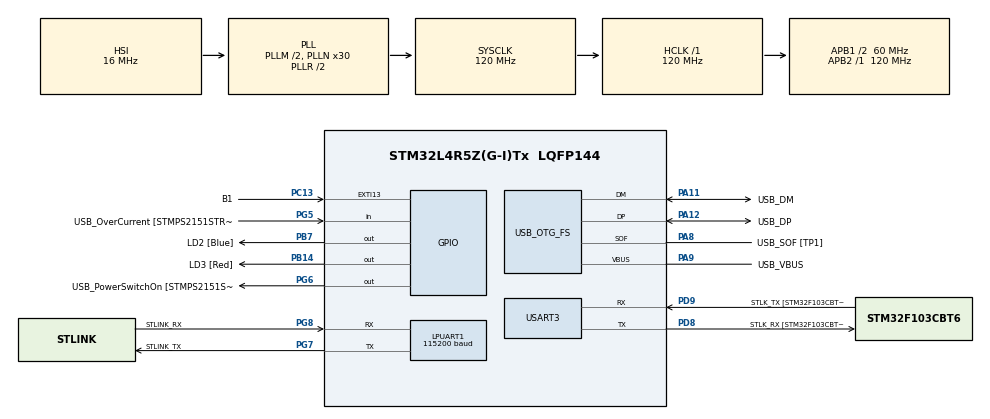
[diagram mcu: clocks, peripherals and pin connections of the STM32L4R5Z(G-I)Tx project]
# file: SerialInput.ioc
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Dma.LPUART1_RX.0.Direction=DMA_PERIPH_TO_MEMORY
Dma.LPUART1_RX.0.EventEnable=DISABLE
Dma.LPUART1_RX.0.Instance=DMA1_Channel1
Dma.LPUART1_RX.0.MemDataAlignment=DMA_MDATAALIGN_BYTE
Dma.LPUART1_RX.0.MemInc=DMA_MINC_ENABLE
Dma.LPUART1_RX.0.Mode=DMA_NORMAL
Dma.LPUART1_RX.0.PeriphDataAlignment=DMA_PDATAALIGN_BYTE
Dma.LPUART1_RX.0.PeriphInc=DMA_PINC_DISABLE
Dma.LPUART1_RX.0.Polarity=HAL_DMAMUX_REQUEST_GEN_RISING
Dma.LPUART1_RX.0.Priority=DMA_PRIORITY_LOW
Dma.LPUART1_RX.0.RequestNumber=1
Dma.LPUART1_RX.0.SignalID=NONE
Dma.LPUART1_RX.0.SyncEnable=DISABLE
Dma.LPUART1_RX.0.SyncPolarity=HAL_DMAMUX_SYNC_NO_EVENT
Dma.LPUART1_RX.0.SyncRequestNumber=1
Dma.LPUART1_RX.0.SyncSignalID=NONE
Dma.Request0=LPUART1_RX
LPUART1.BaudRate=115200
LPUART1.WordLength=UART_WORDLENGTH_8B
Mcu.Family=STM32L4
Mcu.Name=STM32L4R5Z(G-I)Tx
Mcu.Package=LQFP144
NVIC.DMA1_Channel1_IRQn=true\:0\:0\:false\:false\:true\:false\:true\:true
NVIC.PriorityGroup=NVIC_PRIORITYGROUP_4
PA10.GPIO_Label=USB_ID
PA10.Signal=USB_OTG_FS_ID
PA11.GPIO_Label=USB_DM
PA11.Mode=Device_Only
PA11.Signal=USB_OTG_FS_DM
PA12.GPIO_Label=USB_DP
PA12.Mode=Device_Only
PA12.Signal=USB_OTG_FS_DP
PA13\ (JTMS/SWDIO).GPIO_Label=TMS
PA13\ (JTMS/SWDIO).Mode=Trace_Asynchronous_SW
PA13\ (JTMS/SWDIO).Signal=SYS_JTMS-SWDIO
PA14\ (JTCK/SWCLK).GPIO_Label=TCK
PA14\ (JTCK/SWCLK).Mode=Trace_Asynchronous_SW
PA14\ (JTCK/SWCLK).Signal=SYS_JTCK-SWCLK
PA8.GPIO_Label=USB_SOF [TP1]
PA8.Mode=Activate_SOF_FS
PA8.Signal=USB_OTG_FS_SOF
PA9.GPIO_Label=USB_VBUS
PA9.Mode=Activate_VBUS
PA9.Signal=USB_OTG_FS_VBUS
PB14.GPIO_Label=LD3 [Red]
PB14.Signal=GPIO_Output
PB3\ (JTDO/TRACESWO).GPIO_Label=SWO
PB3\ (JTDO/TRACESWO).Mode=Trace_Asynchronous_SW
PB3\ (JTDO/TRACESWO).Signal=SYS_JTDO-SWO
PB7.GPIO_Label=LD2 [Blue]
PB7.Signal=GPIO_Output
PC13.GPIO_Label=B1
PC13.Signal=GPXTI13
PC14-OSC32_IN\ (PC14).Mode=LSE-External-Oscillator
PC14-OSC32_IN\ (PC14).Signal=RCC_OSC32_IN
PC15-OSC32_OUT\ (PC15).Mode=LSE-External-Oscillator
PC15-OSC32_OUT\ (PC15).Signal=RCC_OSC32_OUT
PD8.GPIO_Label=STLK_RX [STM32F103CBT6_PA3]
PD8.Mode=Asynchronous
PD8.Signal=USART3_TX
PD9.GPIO_Label=STLK_TX [STM32F103CBT6_PA2]
PD9.Mode=Asynchronous
PD9.Signal=USART3_RX
PG5.GPIO_Label=USB_OverCurrent [STMPS2151STR_FAULT]
PG5.Signal=GPIO_Input
PG6.GPIO_Label=USB_PowerSwitchOn [STMPS2151STR_EN]
PG6.Signal=GPIO_Output
PG7.GPIO_Label=STLINK_TX
PG7.Mode=Asynchronous
PG7.Signal=LPUART1_TX
PG8.GPIO_Label=STLINK_RX
PG8.Mode=Asynchronous
PG8.Signal=LPUART1_RX
PH0-OSC_IN\ (PH0).Signal=RCC_OSC_IN
PH1-OSC_OUT\ (PH1).Signal=RCC_OSC_OUT
ProjectManager.HeapSize=0x200
ProjectManager.StackSize=0x400
ProjectManager.TargetToolchain=STM32CubeIDE
RCC.48MHZClocksFreq_Value=24000000
RCC.ADCFreq_Value=96000000
RCC.AHBFreq_Value=120000000
RCC.APB1CLKDivider=RCC_HCLK_DIV2
RCC.APB1Freq_Value=60000000
RCC.APB1TimFreq_Value=120000000
RCC.APB2Freq_Value=120000000
RCC.APB2TimFreq_Value=120000000
RCC.CK48CLockSelection=RCC_USBCLKSOURCE_HSI48
RCC.CortexFreq_Value=120000000
RCC.HCLKFreq_Value=120000000
RCC.HSE_VALUE=8000000
RCC.HSI48_VALUE=48000000
RCC.HSI_VALUE=16000000
RCC.MSI_VALUE=4000000
RCC.PLLM1=2
RCC.PLLMUL=RCC_PLL_MUL9
RCC.PLLN=30
RCC.PLLSAI1N=12
RCC.PLLSourceVirtual=RCC_PLLSOURCE_HSI
RCC.PRESCALERUSB=RCC_USBCLKSOURCE_PLL_DIV1_5
RCC.SYSCLKFreq_VALUE=120000000
RCC.SYSCLKSource=RCC_SYSCLKSOURCE_PLLCLK
RCC.SYSCLKSourceVirtual=RCC_SYSCLKSOURCE_PLLCLK
RCC.USBFreq_Value=48000000
RCC.VCOOutputFreq_Value=240000000
USART3.VirtualMode-Asynchronous=VM_ASYNC
USB_OTG_FS.VirtualMode=Device_Only
board=NUCLEO-L4R5ZI

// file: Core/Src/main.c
/* USER CODE BEGIN Header */
/**
  ******************************************************************************
  * @file           : main.c
  * @brief          : Main program body
  ******************************************************************************
  * @attention
  *
  * Copyright (c) 2023 STMicroelectronics.
  * All rights reserved.
  *
  * This software is licensed under terms that can be found in the LICENSE file
  * in the root directory of this software component.
  * If no LICENSE file comes with this software, it is provided AS-IS.
  *
  ******************************************************************************
  */
/* USER CODE END Header */
#include "main.h"

/* USER CODE BEGIN Includes */
#include <stdio.h>

/* USER CODE END Includes */

UART_HandleTypeDef hlpuart1;
UART_HandleTypeDef huart3;
DMA_HandleTypeDef hdma_lpuart1_rx;

PCD_HandleTypeDef hpcd_USB_OTG_FS;

void SystemClock_Config(void);
static void MX_GPIO_Init(void);
static void MX_DMA_Init(void);
static void MX_LPUART1_UART_Init(void);
static void MX_USART3_UART_Init(void);
static void MX_USB_OTG_FS_PCD_Init(void);
/* USER CODE BEGIN PFP */
#ifdef __GNUC__
#define PUTCHAR_PROTOTYPE int __io_putchar(int ch)
#else
#define PUTCHAR_PROTOTYPE int fputc(int ch, FILE *f)
#endif

PUTCHAR_PROTOTYPE
{
  HAL_UART_Transmit(&hlpuart1, (uint8_t *)&ch, 1, HAL_MAX_DELAY);
  return ch;
}

/* USER CODE END PFP */

/* USER CODE BEGIN 0 */
uint8_t bufferCounter = 0;
uint8_t byteBuffer = 0;
uint8_t buffer[10] = {0};

/* USER CODE END 0 */

int main(void)
{

  /* MCU Configuration--------------------------------------------------------*/

  /* Reset of all peripherals, Initializes the Flash interface and the Systick. */
  HAL_Init();

  /* Configure the system clock */
  SystemClock_Config();

  /* Initialize all configured peripherals */
  MX_GPIO_Init();
  MX_DMA_Init();
  MX_LPUART1_UART_Init();
  MX_USART3_UART_Init();
  MX_USB_OTG_FS_PCD_Init();
  /* USER CODE BEGIN 2 */

  HAL_UART_Receive_DMA(&hlpuart1, &byteBuffer, 1);

  /* USER CODE END 2 */

  /* Infinite loop */
  while (1)
  {

  }
}

void SystemClock_Config(void)
{
  RCC_OscInitTypeDef RCC_OscInitStruct = {0};
  RCC_ClkInitTypeDef RCC_ClkInitStruct = {0};

  /** Configure the main internal regulator output voltage
  */
  if (HAL_PWREx_ControlVoltageScaling(PWR_REGULATOR_VOLTAGE_SCALE1_BOOST) != HAL_OK)
  {
    Error_Handler();
  }

  /** Initializes the RCC Oscillators according to the specified parameters
  * in the RCC_OscInitTypeDef structure.
  */
  RCC_OscInitStruct.OscillatorType = RCC_OSCILLATORTYPE_HSI48|RCC_OSCILLATORTYPE_HSI;
  RCC_OscInitStruct.HSIState = RCC_HSI_ON;
  RCC_OscInitStruct.HSI48State = RCC_HSI48_ON;
  RCC_OscInitStruct.HSICalibrationValue = RCC_HSICALIBRATION_DEFAULT;
  RCC_OscInitStruct.PLL.PLLState = RCC_PLL_ON;
  RCC_OscInitStruct.PLL.PLLSource = RCC_PLLSOURCE_HSI;
  RCC_OscInitStruct.PLL.PLLM = 2;
  RCC_OscInitStruct.PLL.PLLN = 30;
  RCC_OscInitStruct.PLL.PLLP = RCC_PLLP_DIV2;
  RCC_OscInitStruct.PLL.PLLQ = RCC_PLLQ_DIV2;
  RCC_OscInitStruct.PLL.PLLR = RCC_PLLR_DIV2;
  if (HAL_RCC_OscConfig(&RCC_OscInitStruct) != HAL_OK)
  {
    Error_Handler();
  }

  /** Initializes the CPU, AHB and APB buses clocks
  */
  RCC_ClkInitStruct.ClockType = RCC_CLOCKTYPE_HCLK|RCC_CLOCKTYPE_SYSCLK
                              |RCC_CLOCKTYPE_PCLK1|RCC_CLOCKTYPE_PCLK2;
  RCC_ClkInitStruct.SYSCLKSource = RCC_SYSCLKSOURCE_PLLCLK;
  RCC_ClkInitStruct.AHBCLKDivider = RCC_SYSCLK_DIV1;
  RCC_ClkInitStruct.APB1CLKDivider = RCC_HCLK_DIV2;
  RCC_ClkInitStruct.APB2CLKDivider = RCC_HCLK_DIV1;

  if (HAL_RCC_ClockConfig(&RCC_ClkInitStruct, FLASH_LATENCY_5) != HAL_OK)
  {
    Error_Handler();
  }
}

static void MX_LPUART1_UART_Init(void)
{

  hlpuart1.Instance = LPUART1;
  hlpuart1.Init.BaudRate = 115200;
  hlpuart1.Init.WordLength = UART_WORDLENGTH_8B;
  hlpuart1.Init.StopBits = UART_STOPBITS_1;
  hlpuart1.Init.Parity = UART_PARITY_NONE;
  hlpuart1.Init.Mode = UART_MODE_TX_RX;
  hlpuart1.Init.HwFlowCtl = UART_HWCONTROL_NONE;
  hlpuart1.Init.OneBitSampling = UART_ONE_BIT_SAMPLE_DISABLE;
  hlpuart1.Init.ClockPrescaler = UART_PRESCALER_DIV1;
  hlpuart1.AdvancedInit.AdvFeatureInit = UART_ADVFEATURE_NO_INIT;
  hlpuart1.FifoMode = UART_FIFOMODE_DISABLE;
  if (HAL_UART_Init(&hlpuart1) != HAL_OK)
  {
    Error_Handler();
  }
  if (HAL_UARTEx_SetTxFifoThreshold(&hlpuart1, UART_TXFIFO_THRESHOLD_1_8) != HAL_OK)
  {
    Error_Handler();
  }
  if (HAL_UARTEx_SetRxFifoThreshold(&hlpuart1, UART_RXFIFO_THRESHOLD_1_8) != HAL_OK)
  {
    Error_Handler();
  }
  if (HAL_UARTEx_DisableFifoMode(&hlpuart1) != HAL_OK)
  {
    Error_Handler();
  }

}

static void MX_USART3_UART_Init(void)
{

  huart3.Instance = USART3;
  huart3.Init.BaudRate = 115200;
  huart3.Init.WordLength = UART_WORDLENGTH_8B;
  huart3.Init.StopBits = UART_STOPBITS_1;
  huart3.Init.Parity = UART_PARITY_NONE;
  huart3.Init.Mode = UART_MODE_TX_RX;
  huart3.Init.HwFlowCtl = UART_HWCONTROL_NONE;
  huart3.Init.OverSampling = UART_OVERSAMPLING_16;
  huart3.Init.OneBitSampling = UART_ONE_BIT_SAMPLE_DISABLE;
  huart3.Init.ClockPrescaler = UART_PRESCALER_DIV1;
  huart3.AdvancedInit.AdvFeatureInit = UART_ADVFEATURE_NO_INIT;
  if (HAL_UART_Init(&huart3) != HAL_OK)
  {
    Error_Handler();
  }
  if (HAL_UARTEx_SetTxFifoThreshold(&huart3, UART_TXFIFO_THRESHOLD_1_8) != HAL_OK)
  {
    Error_Handler();
  }
  if (HAL_UARTEx_SetRxFifoThreshold(&huart3, UART_RXFIFO_THRESHOLD_1_8) != HAL_OK)
  {
    Error_Handler();
  }
  if (HAL_UARTEx_DisableFifoMode(&huart3) != HAL_OK)
  {
    Error_Handler();
  }

}

static void MX_USB_OTG_FS_PCD_Init(void)
{

  hpcd_USB_OTG_FS.Instance = USB_OTG_FS;
  hpcd_USB_OTG_FS.Init.dev_endpoints = 6;
  hpcd_USB_OTG_FS.Init.phy_itface = PCD_PHY_EMBEDDED;
  hpcd_USB_OTG_FS.Init.Sof_enable = ENABLE;
  hpcd_USB_OTG_FS.Init.low_power_enable = DISABLE;
  hpcd_USB_OTG_FS.Init.lpm_enable = DISABLE;
  hpcd_USB_OTG_FS.Init.battery_charging_enable = ENABLE;
  hpcd_USB_OTG_FS.Init.use_dedicated_ep1 = DISABLE;
  hpcd_USB_OTG_FS.Init.vbus_sensing_enable = ENABLE;
  if (HAL_PCD_Init(&hpcd_USB_OTG_FS) != HAL_OK)
  {
    Error_Handler();
  }

}

static void MX_DMA_Init(void)
{

  /* DMA controller clock enable */
  __HAL_RCC_DMAMUX1_CLK_ENABLE();
  __HAL_RCC_DMA1_CLK_ENABLE();

  /* DMA interrupt init */
  /* DMA1_Channel1_IRQn interrupt configuration */
  HAL_NVIC_SetPriority(DMA1_Channel1_IRQn, 0, 0);
  HAL_NVIC_EnableIRQ(DMA1_Channel1_IRQn);

}

static void MX_GPIO_Init(void)
{
  GPIO_InitTypeDef GPIO_InitStruct = {0};

  /* GPIO Ports Clock Enable */
  __HAL_RCC_GPIOC_CLK_ENABLE();
  __HAL_RCC_GPIOH_CLK_ENABLE();
  __HAL_RCC_GPIOB_CLK_ENABLE();
  __HAL_RCC_GPIOD_CLK_ENABLE();
  __HAL_RCC_GPIOG_CLK_ENABLE();
  HAL_PWREx_EnableVddIO2();
  __HAL_RCC_GPIOA_CLK_ENABLE();

  /*Configure GPIO pin Output Level */
  HAL_GPIO_WritePin(GPIOB, LD3_Pin|LD2_Pin, GPIO_PIN_RESET);

  /*Configure GPIO pin Output Level */
  HAL_GPIO_WritePin(USB_PowerSwitchOn_GPIO_Port, USB_PowerSwitchOn_Pin, GPIO_PIN_RESET);

  /*Configure GPIO pin : B1_Pin */
  GPIO_InitStruct.Pin = B1_Pin;
  GPIO_InitStruct.Mode = GPIO_MODE_IT_RISING;
  GPIO_InitStruct.Pull = GPIO_NOPULL;
  HAL_GPIO_Init(B1_GPIO_Port, &GPIO_InitStruct);

  /*Configure GPIO pins : LD3_Pin LD2_Pin */
  GPIO_InitStruct.Pin = LD3_Pin|LD2_Pin;
  GPIO_InitStruct.Mode = GPIO_MODE_OUTPUT_PP;
  GPIO_InitStruct.Pull = GPIO_NOPULL;
  GPIO_InitStruct.Speed = GPIO_SPEED_FREQ_LOW;
  HAL_GPIO_Init(GPIOB, &GPIO_InitStruct);

  /*Configure GPIO pin : USB_OverCurrent_Pin */
  GPIO_InitStruct.Pin = USB_OverCurrent_Pin;
  GPIO_InitStruct.Mode = GPIO_MODE_INPUT;
  GPIO_InitStruct.Pull = GPIO_NOPULL;
  HAL_GPIO_Init(USB_OverCurrent_GPIO_Port, &GPIO_InitStruct);

  /*Configure GPIO pin : USB_PowerSwitchOn_Pin */
  GPIO_InitStruct.Pin = USB_PowerSwitchOn_Pin;
  GPIO_InitStruct.Mode = GPIO_MODE_OUTPUT_PP;
  GPIO_InitStruct.Pull = GPIO_NOPULL;
  GPIO_InitStruct.Speed = GPIO_SPEED_FREQ_LOW;
  HAL_GPIO_Init(USB_PowerSwitchOn_GPIO_Port, &GPIO_InitStruct);

}

/* USER CODE BEGIN 4 */

void HAL_UART_RxCpltCallback(UART_HandleTypeDef *huart)
{
	if (huart == &hlpuart1)
	{
		printf("\r\nYou entered: %s\r\n", (char*)&byteBuffer);
		HAL_UART_Receive_DMA(&hlpuart1, &byteBuffer, 1);
	}

	/* some fun optional code
	 * takes in a character and adds it to an array of length 10
	 * it will only print back to you when you press enter
	if (charIn == '\r'){
		printf("\r\n%s\r\n", buffer);
		memset(buffer, 0, sizeof(buffer));
		bufferCounter = 0;
	}
	else{
		buffer[bufferCounter] = charIn;
		if (bufferCounter == 9){
			bufferCounter = 0;
		}
		else{
			bufferCounter++;
		}
	}
*/

}

/* USER CODE END 4 */

void Error_Handler(void)
{
  __disable_irq();
  while (1)
  {
  }
}
